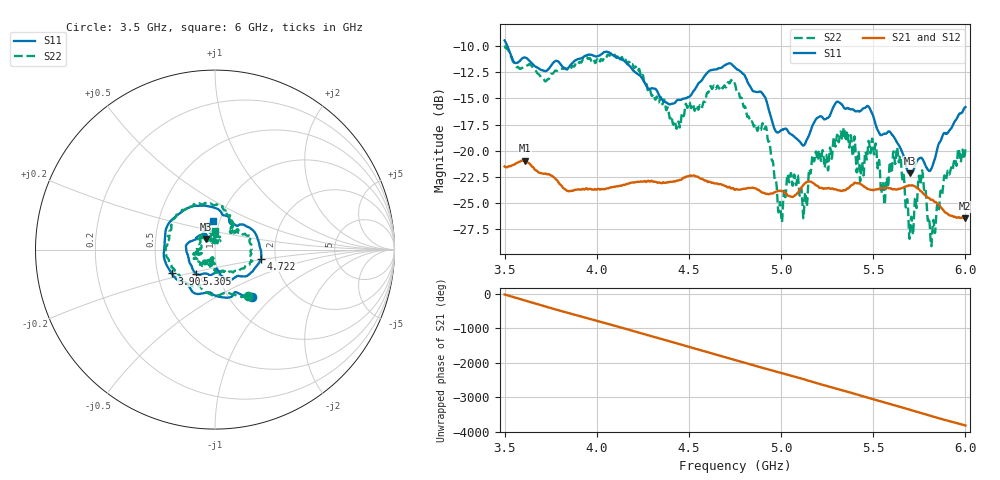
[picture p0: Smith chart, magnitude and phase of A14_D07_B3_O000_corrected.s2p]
! Created with skrf 1.9.0 (http://scikit-rf.org).
# Hz S RI R 50.0
!freq ReS11 ImS11 ReS21 ImS21 ReS12 ImS12 ReS22 ImS22
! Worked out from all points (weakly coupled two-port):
!   1601 points, 3.5 GHz to 6 GHz, reference 50 ohm
!   highest |S21| = -20.94 dB at 3.609 GHz (marker M1); lowest = -26.5 dB at 5.997 GHz (marker M2)
!   lowest |S11| = -22.2 dB at 5.698 GHz (marker M3), VSWR 1.17, Z = 44.9 + j5.34 ohm
!   |S11| at or under -10 dB: 3.515 GHz to end of sweep
!   |S22| runs from -29.1 to -9.9 dB; largest |S21 - S12| = 0.001
!   S11 on the Smith chart (normalised r, x): 3.5 GHz: 1.27, -0.76; 3.909 GHz: 0.59, -0.17; 4.722 GHz: 1.68, -0.18; 5.305 GHz: 0.78, -0.22; 6 GHz: 0.93, +0.31
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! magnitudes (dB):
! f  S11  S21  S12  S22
! 3.5 GHz  -9.5  -21.5  -21.5  -9.9
! 3.609 GHz  -11.1  -20.9  -21.0  -12.0
! 3.909 GHz  -11.2  -23.7  -23.7  -11.5
! 3.917 GHz  -11.2  -23.7  -23.7  -11.6
! 4.334 GHz  -14.6  -23.1  -23.0  -15.4
! 4.442 GHz  -15.1  -22.9  -22.8  -17.2
! 4.722 GHz  -11.6  -23.5  -23.5  -13.5
! 4.75 GHz  -12.0  -23.7  -23.7  -13.6
! 4.912 GHz  -14.9  -24.1  -24.1  -17.9
! 4.995 GHz  -18.1  -23.8  -23.8  -24.9
! 5.045 GHz  -18.3  -24.3  -24.3  -23.0
! 5.13 GHz  -19.4  -23.1  -23.1  -24.1
! 5.167 GHz  -17.8  -23.0  -23.0  -20.9
! 5.305 GHz  -15.3  -23.8  -23.7  -18.5
! 5.584 GHz  -18.2  -23.6  -23.6  -22.5
! 5.638 GHz  -19.4  -23.7  -23.6  -21.0
! 5.698 GHz  -22.2  -23.3  -23.3  -28.1
! 5.758 GHz  -20.7  -23.9  -23.8  -23.0
! 5.823 GHz  -21.4  -24.7  -24.7  -26.9
! 5.894 GHz  -18.4  -25.9  -25.9  -22.8
! 5.997 GHz  -15.9  -26.5  -26.4  -20.5
! 6 GHz  -15.8  -26.5  -26.4  -19.9
